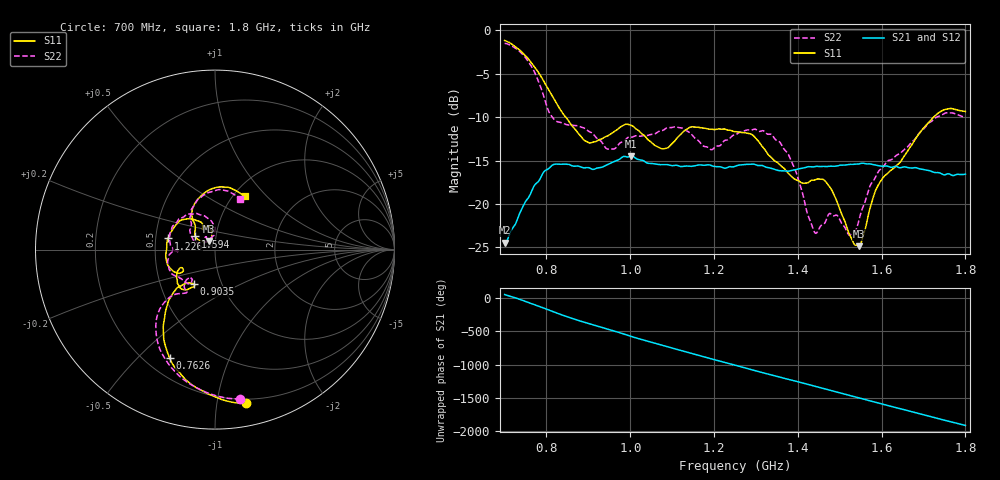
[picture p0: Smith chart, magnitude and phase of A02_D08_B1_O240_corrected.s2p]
! Created with skrf 1.9.0 (http://scikit-rf.org).
# Hz S RI R 50.0
!freq ReS11 ImS11 ReS21 ImS21 ReS12 ImS12 ReS22 ImS22
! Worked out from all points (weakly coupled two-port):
!   1601 points, 700 MHz to 1.8 GHz, reference 50 ohm
!   highest |S21| = -14.49 dB at 1.002 GHz (marker M1); lowest = -24.5 dB at 700 MHz (marker M2)
!   lowest |S11| = -24.9 dB at 1.546 GHz (marker M3), VSWR 1.12, Z = 46.7 + j4.44 ohm
!   |S11| at or under -10 dB: 846 MHz to 1.724 GHz (878 MHz wide, 68.3 % of centre)
!   |S22| runs from -23.6 to -1.5 dB; largest |S21 - S12| = 0.0038
!   S11 on the Smith chart (normalised r, x): 700 MHz: 0.17, -1.21; 762.6 MHz: 0.30, -0.62; 903.5 MHz: 0.74, -0.30; 1.226 GHz: 0.58, +0.08; 1.594 GHz: 0.80, +0.12; 1.8 GHz: 1.12, +0.76
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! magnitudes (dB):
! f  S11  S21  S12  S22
! 700 MHz  -1.2  -24.5  -24.2  -1.5
! 762.6 MHz  -3.7  -18.8  -18.7  -4.1
! 815.5 MHz  -7.7  -15.5  -15.6  -10.1
! 883.6 MHz  -12.3  -15.8  -15.7  -11.1
! 903.5 MHz  -13.0  -15.9  -15.8  -11.7
! 948.2 MHz  -12.1  -15.4  -15.4  -13.7
! 1.002 GHz  -10.9  -14.5  -14.6  -12.3
! 1.067 GHz  -13.5  -15.4  -15.4  -11.7
! 1.144 GHz  -11.1  -15.7  -15.7  -11.9
! 1.192 GHz  -11.4  -15.5  -15.5  -13.7
! 1.226 GHz  -11.4  -15.9  -15.8  -12.7
! 1.25 GHz  -11.7  -15.7  -15.6  -12.0
! 1.358 GHz  -15.5  -16.2  -16.1  -12.9
! 1.394 GHz  -17.2  -16.1  -16.0  -16.0
! 1.434 GHz  -17.3  -15.7  -15.7  -22.5
! 1.475 GHz  -17.9  -15.7  -15.7  -21.1
! 1.524 GHz  -23.5  -15.4  -15.4  -23.6
! 1.546 GHz  -24.9  -15.4  -15.4  -21.9
! 1.594 GHz  -17.6  -15.6  -15.6  -16.1
! 1.617 GHz  -16.3  -15.7  -15.7  -15.0
! 1.733 GHz  -9.6  -16.4  -16.4  -9.9
! 1.8 GHz  -9.3  -16.6  -16.6  -10.0
